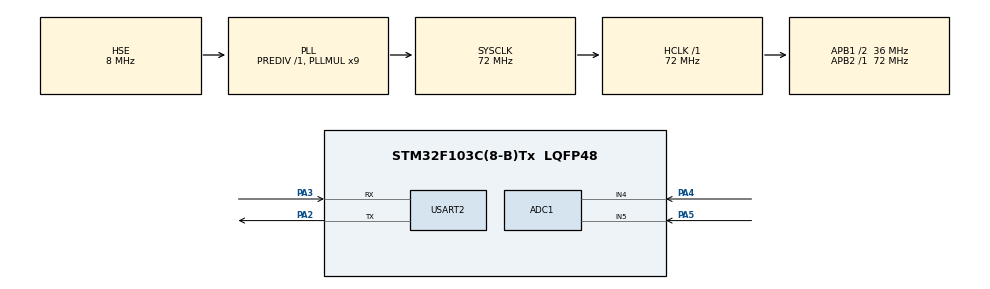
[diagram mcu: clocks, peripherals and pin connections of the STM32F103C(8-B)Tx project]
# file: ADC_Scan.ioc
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ADC1.Channel-0\#ChannelRegularConversion=ADC_CHANNEL_5
ADC1.Channel-1\#ChannelRegularConversion=ADC_CHANNEL_4
ADC1.Channel-2\#ChannelRegularConversion=ADC_CHANNEL_TEMPSENSOR
ADC1.Channel-3\#ChannelRegularConversion=ADC_CHANNEL_VREFINT
ADC1.ContinuousConvMode=ENABLE
ADC1.NbrOfConversion=4
ADC1.NbrOfConversionFlag=1
ADC1.Rank-0\#ChannelRegularConversion=1
ADC1.Rank-1\#ChannelRegularConversion=2
ADC1.Rank-2\#ChannelRegularConversion=3
ADC1.Rank-3\#ChannelRegularConversion=4
ADC1.SamplingTime-0\#ChannelRegularConversion=ADC_SAMPLETIME_71CYCLES_5
ADC1.SamplingTime-1\#ChannelRegularConversion=ADC_SAMPLETIME_71CYCLES_5
ADC1.SamplingTime-2\#ChannelRegularConversion=ADC_SAMPLETIME_71CYCLES_5
ADC1.SamplingTime-3\#ChannelRegularConversion=ADC_SAMPLETIME_71CYCLES_5
ADC1.master=1
Dma.ADC1.0.Direction=DMA_PERIPH_TO_MEMORY
Dma.ADC1.0.Instance=DMA1_Channel1
Dma.ADC1.0.MemDataAlignment=DMA_MDATAALIGN_HALFWORD
Dma.ADC1.0.MemInc=DMA_MINC_ENABLE
Dma.ADC1.0.Mode=DMA_CIRCULAR
Dma.ADC1.0.PeriphDataAlignment=DMA_PDATAALIGN_HALFWORD
Dma.ADC1.0.PeriphInc=DMA_PINC_DISABLE
Dma.ADC1.0.Priority=DMA_PRIORITY_LOW
Dma.Request0=ADC1
Mcu.Family=STM32F1
Mcu.Name=STM32F103C(8-B)Tx
Mcu.Package=LQFP48
NVIC.DMA1_Channel1_IRQn=true\:0\:0\:false\:false\:true\:false\:true\:true
NVIC.PriorityGroup=NVIC_PRIORITYGROUP_4
PA13.Mode=Serial_Wire
PA13.Signal=SYS_JTMS-SWDIO
PA14.Mode=Serial_Wire
PA14.Signal=SYS_JTCK-SWCLK
PA2.Mode=Asynchronous
PA2.Signal=USART2_TX
PA3.Mode=Asynchronous
PA3.Signal=USART2_RX
PA4.Signal=ADCx_IN4
PA5.Signal=ADCx_IN5
PD0-OSC_IN.Mode=HSE-External-Oscillator
PD0-OSC_IN.Signal=RCC_OSC_IN
PD1-OSC_OUT.Mode=HSE-External-Oscillator
PD1-OSC_OUT.Signal=RCC_OSC_OUT
ProjectManager.HeapSize=0x200
ProjectManager.StackSize=0x400
ProjectManager.TargetToolchain=STM32CubeIDE
RCC.ADCPresc=RCC_ADCPCLK2_DIV6
RCC.AHBFreq_Value=72000000
RCC.APB1CLKDivider=RCC_HCLK_DIV2
RCC.APB1Freq_Value=36000000
RCC.APB1TimFreq_Value=72000000
RCC.APB2Freq_Value=72000000
RCC.APB2TimFreq_Value=72000000
RCC.HCLKFreq_Value=72000000
RCC.PLLMUL=RCC_PLL_MUL9
RCC.PLLSourceVirtual=RCC_PLLSOURCE_HSE
RCC.SYSCLKFreq_VALUE=72000000
RCC.SYSCLKSource=RCC_SYSCLKSOURCE_PLLCLK
RCC.USBFreq_Value=72000000
SH.ADCx_IN4.0=ADC1_IN4,IN4
SH.ADCx_IN5.0=ADC1_IN5,IN5
USART2.VirtualMode=VM_ASYNC
VP_ADC1_TempSens_Input.Mode=IN-TempSens
VP_ADC1_Vref_Input.Mode=IN-Vrefint
board=custom

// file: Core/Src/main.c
/* USER CODE BEGIN Header */
/**
  ******************************************************************************
  * @file           : main.c
  * @brief          : Main program body
  ******************************************************************************
  * @attention
  *
  * Copyright (c) 2026 STMicroelectronics.
  * All rights reserved.
  *
  * This software is licensed under terms that can be found in the LICENSE file
  * in the root directory of this software component.
  * If no LICENSE file comes with this software, it is provided AS-IS.
  *
  ******************************************************************************
  */
/* USER CODE END Header */
#include "main.h"

/* USER CODE BEGIN Includes */
#include <stdio.h>
#include <string.h>
#include <math.h>
/* USER CODE END Includes */

ADC_HandleTypeDef hadc1;
DMA_HandleTypeDef hdma_adc1;

UART_HandleTypeDef huart2;

void SystemClock_Config(void);
static void MX_GPIO_Init(void);
static void MX_DMA_Init(void);
static void MX_ADC1_Init(void);
static void MX_USART2_UART_Init(void);

/* USER CODE BEGIN 0 */
 uint16_t values[4];
 char message[50]="";

 float ADC2Resistance(uint32_t adc_value) {
   return (adc_value / (4095.0f - adc_value)) * 10000.0f;
 }

 float resistance2Temperature(float R1) {
   float B = 3950.0f;
   float R2 = 10000.0f;
   float T2 = 25.0f;
   return (1.0 / ((1.0 / B) * log(R1 / R2) + (1.0 / (T2 + 273.15))) - 273.15);
 }
//void HAL_ADC_ConvCpltCallback(ADC_HandleTypeDef* hadc){
//	if(hadc == &hadc1 ){
//		sprintf(message, "%d %d %d %d", values[0],values[1],values[2],values[3]);
//		HAL_UART_Transmit(&huart2, message, strlen(message), HAL_MAX_DELAY);
//	}
//}
/* USER CODE END 0 */

int main(void)
{

  /* MCU Configuration--------------------------------------------------------*/

  /* Reset of all peripherals, Initializes the Flash interface and the Systick. */
  HAL_Init();

  /* Configure the system clock */
  SystemClock_Config();

  /* Initialize all configured peripherals */
  MX_GPIO_Init();
  MX_DMA_Init();
  MX_ADC1_Init();
  MX_USART2_UART_Init();
  /* USER CODE BEGIN 2 */
 HAL_ADCEx_Calibration_Start(&hadc1);
 HAL_ADC_Start_DMA(&hadc1, (uint32_t)values, 4);

// float NTC_R =0.0;
// float temperature = 0.0;
 float Vref = 0.0;
 float voltage = 0.0 ;
  /* USER CODE END 2 */

  /* Infinite loop */
  /* USER CODE BEGIN WHILE */
  while (1)
  {

	  HAL_Delay(500);
//	  sprintf(message, "%d %d %d %d", values[0],values[1],values[2],values[3]);
//	  HAL_UART_Transmit(&huart2, message, strlen(message), HAL_MAX_DELAY);
	  voltage = (values[0]/4095.0)*3.3;
//	  NTC_R = ADC2Resistance(values[1]);
//	  temperature = resistance2Temperature(NTC_R);
//	  sprintf(message, "阻值：%d Ω 温度：%.2f℃", NTC_R,temperature );
//	  HAL_UART_Transmit(&huart2, message, strlen(message), HAL_MAX_DELAY);
    /* USER CODE END WHILE */
	  Vref = 1.2 *(4095.0/ (float)values[3]);
	  voltage = (values[0] / 4095.0)*Vref;
	  	  sprintf(message, "ADC: %d  %.2f", values[0],voltage);
	  	  HAL_UART_Transmit(&huart2, message, strlen(message), HAL_MAX_DELAY);
  }
}

void SystemClock_Config(void)
{
  RCC_OscInitTypeDef RCC_OscInitStruct = {0};
  RCC_ClkInitTypeDef RCC_ClkInitStruct = {0};
  RCC_PeriphCLKInitTypeDef PeriphClkInit = {0};

  /** Initializes the RCC Oscillators according to the specified parameters
  * in the RCC_OscInitTypeDef structure.
  */
  RCC_OscInitStruct.OscillatorType = RCC_OSCILLATORTYPE_HSE;
  RCC_OscInitStruct.HSEState = RCC_HSE_ON;
  RCC_OscInitStruct.HSEPredivValue = RCC_HSE_PREDIV_DIV1;
  RCC_OscInitStruct.HSIState = RCC_HSI_ON;
  RCC_OscInitStruct.PLL.PLLState = RCC_PLL_ON;
  RCC_OscInitStruct.PLL.PLLSource = RCC_PLLSOURCE_HSE;
  RCC_OscInitStruct.PLL.PLLMUL = RCC_PLL_MUL9;
  if (HAL_RCC_OscConfig(&RCC_OscInitStruct) != HAL_OK)
  {
    Error_Handler();
  }

  /** Initializes the CPU, AHB and APB buses clocks
  */
  RCC_ClkInitStruct.ClockType = RCC_CLOCKTYPE_HCLK|RCC_CLOCKTYPE_SYSCLK
                              |RCC_CLOCKTYPE_PCLK1|RCC_CLOCKTYPE_PCLK2;
  RCC_ClkInitStruct.SYSCLKSource = RCC_SYSCLKSOURCE_PLLCLK;
  RCC_ClkInitStruct.AHBCLKDivider = RCC_SYSCLK_DIV1;
  RCC_ClkInitStruct.APB1CLKDivider = RCC_HCLK_DIV2;
  RCC_ClkInitStruct.APB2CLKDivider = RCC_HCLK_DIV1;

  if (HAL_RCC_ClockConfig(&RCC_ClkInitStruct, FLASH_LATENCY_2) != HAL_OK)
  {
    Error_Handler();
  }
  PeriphClkInit.PeriphClockSelection = RCC_PERIPHCLK_ADC;
  PeriphClkInit.AdcClockSelection = RCC_ADCPCLK2_DIV6;
  if (HAL_RCCEx_PeriphCLKConfig(&PeriphClkInit) != HAL_OK)
  {
    Error_Handler();
  }
}

static void MX_ADC1_Init(void)
{

  ADC_ChannelConfTypeDef sConfig = {0};

  /** Common config
  */
  hadc1.Instance = ADC1;
  hadc1.Init.ScanConvMode = ADC_SCAN_ENABLE;
  hadc1.Init.ContinuousConvMode = DISABLE;
  hadc1.Init.DiscontinuousConvMode = DISABLE;
  hadc1.Init.ExternalTrigConv = ADC_SOFTWARE_START;
  hadc1.Init.DataAlign = ADC_DATAALIGN_RIGHT;
  hadc1.Init.NbrOfConversion = 4;
  if (HAL_ADC_Init(&hadc1) != HAL_OK)
  {
    Error_Handler();
  }

  /** Configure Regular Channel
  */
  sConfig.Channel = ADC_CHANNEL_5;
  sConfig.Rank = ADC_REGULAR_RANK_1;
  sConfig.SamplingTime = ADC_SAMPLETIME_71CYCLES_5;
  if (HAL_ADC_ConfigChannel(&hadc1, &sConfig) != HAL_OK)
  {
    Error_Handler();
  }

  /** Configure Regular Channel
  */
  sConfig.Channel = ADC_CHANNEL_4;
  sConfig.Rank = ADC_REGULAR_RANK_2;
  if (HAL_ADC_ConfigChannel(&hadc1, &sConfig) != HAL_OK)
  {
    Error_Handler();
  }

  /** Configure Regular Channel
  */
  sConfig.Channel = ADC_CHANNEL_TEMPSENSOR;
  sConfig.Rank = ADC_REGULAR_RANK_3;
  if (HAL_ADC_ConfigChannel(&hadc1, &sConfig) != HAL_OK)
  {
    Error_Handler();
  }

  /** Configure Regular Channel
  */
  sConfig.Channel = ADC_CHANNEL_VREFINT;
  sConfig.Rank = ADC_REGULAR_RANK_4;
  if (HAL_ADC_ConfigChannel(&hadc1, &sConfig) != HAL_OK)
  {
    Error_Handler();
  }

}

static void MX_USART2_UART_Init(void)
{

  huart2.Instance = USART2;
  huart2.Init.BaudRate = 115200;
  huart2.Init.WordLength = UART_WORDLENGTH_8B;
  huart2.Init.StopBits = UART_STOPBITS_1;
  huart2.Init.Parity = UART_PARITY_NONE;
  huart2.Init.Mode = UART_MODE_TX_RX;
  huart2.Init.HwFlowCtl = UART_HWCONTROL_NONE;
  huart2.Init.OverSampling = UART_OVERSAMPLING_16;
  if (HAL_UART_Init(&huart2) != HAL_OK)
  {
    Error_Handler();
  }

}

static void MX_DMA_Init(void)
{

  /* DMA controller clock enable */
  __HAL_RCC_DMA1_CLK_ENABLE();

  /* DMA interrupt init */
  /* DMA1_Channel1_IRQn interrupt configuration */
  HAL_NVIC_SetPriority(DMA1_Channel1_IRQn, 0, 0);
  HAL_NVIC_EnableIRQ(DMA1_Channel1_IRQn);

}

static void MX_GPIO_Init(void)
{

  /* GPIO Ports Clock Enable */
  __HAL_RCC_GPIOD_CLK_ENABLE();
  __HAL_RCC_GPIOA_CLK_ENABLE();

}

void Error_Handler(void)
{
  __disable_irq();
  while (1)
  {
  }
}
